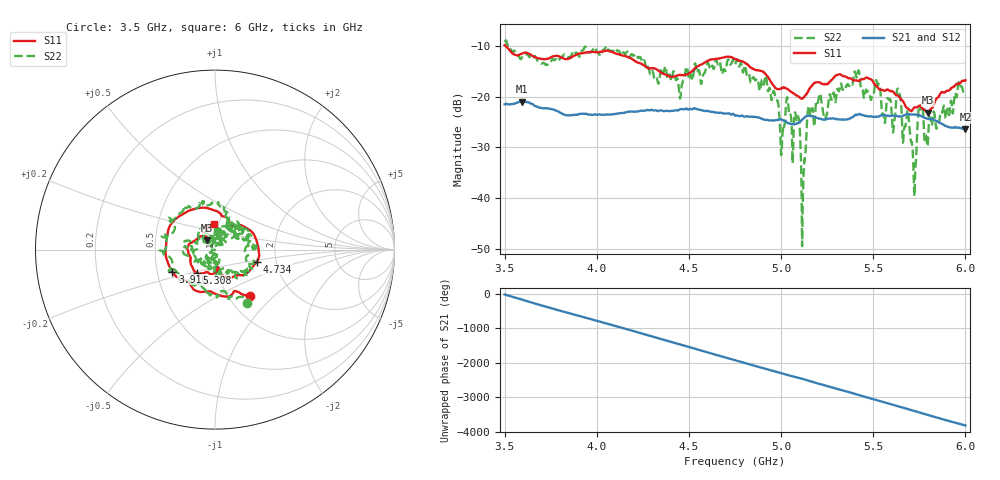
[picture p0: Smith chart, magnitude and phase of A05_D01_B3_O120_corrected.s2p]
! Created with skrf 1.9.0 (http://scikit-rf.org).
# Hz S RI R 50.0
!freq ReS11 ImS11 ReS21 ImS21 ReS12 ImS12 ReS22 ImS22
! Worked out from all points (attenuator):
!   1601 points, 3.5 GHz to 6 GHz, reference 50 ohm
!   highest |S21| = -20.97 dB at 3.592 GHz (marker M1); lowest = -26.4 dB at 6 GHz (marker M2)
!   lowest |S11| = -23.1 dB at 5.795 GHz (marker M3), VSWR 1.15, Z = 45.3 + j4.77 ohm
!   |S11| at or under -10 dB: 3.505 GHz to end of sweep
!   |S22| runs from -49.5 to -8.9 dB; largest |S21 - S12| = 0.0013
!   S11 on the Smith chart (normalised r, x): 3.5 GHz: 1.26, -0.72; 3.916 GHz: 0.60, -0.16; 4.734 GHz: 1.59, -0.23; 5.308 GHz: 0.79, -0.21; 6 GHz: 0.95, +0.28
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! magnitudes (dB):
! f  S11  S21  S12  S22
! 3.5 GHz  -9.8  -21.5  -21.5  -9.2
! 3.592 GHz  -11.5  -21.0  -21.0  -12.4
! 3.916 GHz  -11.5  -23.4  -23.4  -11.1
! 3.917 GHz  -11.5  -23.4  -23.4  -11.0
! 4.334 GHz  -14.9  -22.8  -22.8  -17.4
! 4.734 GHz  -12.3  -23.4  -23.5  -13.2
! 4.75 GHz  -12.6  -23.7  -23.7  -13.6
! 4.969 GHz  -18.3  -24.6  -24.6  -20.0
! 5.006 GHz  -18.3  -24.5  -24.5  -28.0
! 5.034 GHz  -18.5  -25.2  -25.1  -20.2
! 5.086 GHz  -19.8  -25.3  -25.3  -24.5
! 5.119 GHz  -20.2  -24.4  -24.3  -39.1
! 5.145 GHz  -19.1  -23.7  -23.7  -22.8
! 5.167 GHz  -17.8  -23.8  -23.8  -22.4
! 5.308 GHz  -15.7  -24.5  -24.4  -18.4
! 5.584 GHz  -18.7  -23.8  -23.8  -20.5
! 5.611 GHz  -19.1  -23.7  -23.7  -26.0
! 5.639 GHz  -20.0  -23.9  -23.9  -19.0
! 5.722 GHz  -22.1  -23.5  -23.5  -38.6
! 5.755 GHz  -21.8  -23.8  -23.7  -22.5
! 5.795 GHz  -23.1  -24.3  -24.3  -29.6
! 6 GHz  -16.8  -26.4  -26.4  -19.7
